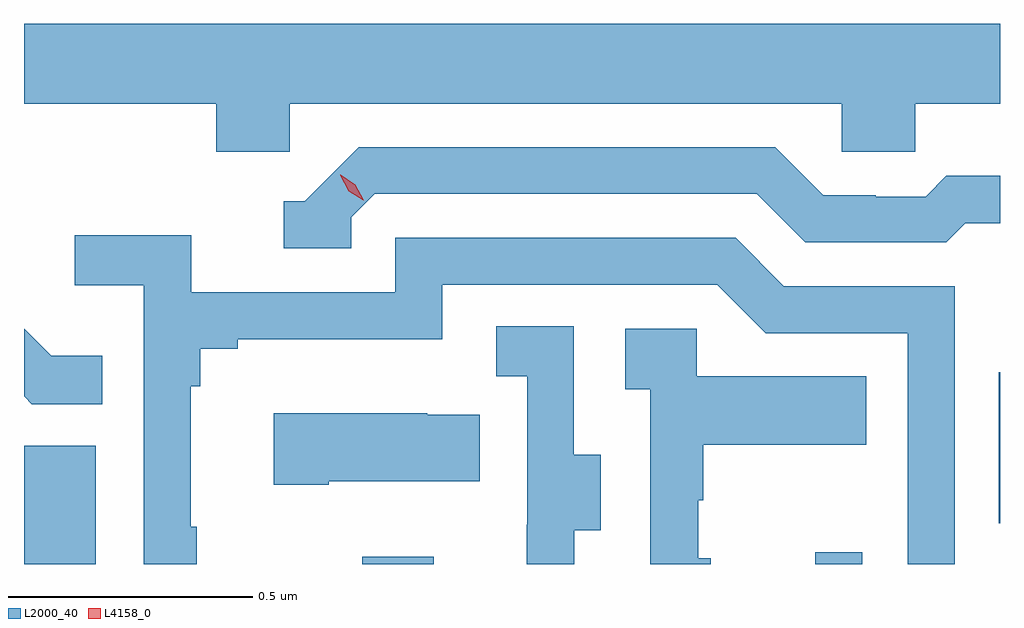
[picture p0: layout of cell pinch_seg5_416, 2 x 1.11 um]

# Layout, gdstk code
import gdstk
lib = gdstk.Library(unit=1e-6, precision=1e-09)
def R(c, l, rs):  # rectangles x0, y0, x1, y1
    for r in rs: c.add(gdstk.rectangle(r[:2], r[2:], *l))
def P(c, l, *ps):  # polygons
    for p in ps: c.add(gdstk.Polygon(p, *l))
L2000_40 = (2000, 40)
L4158_0 = (4158, 0)

pinch_seg5_416 = lib.new_cell('pinch_seg5_416')
R(pinch_seg5_416, L2000_40, [(986.089,857.148,986.236,857.391), (986.782,857.148,986.929,857.164), (987.71,857.148,987.807,857.173), (988.086,857.232,988.089,857.542)])
P(pinch_seg5_416, L2000_40, [(986.634,858.092),(987.765,858.092),(987.765,857.994),(987.915,857.994),(987.915,858.092),(988.089,858.092),(988.089,858.256),(986.089,858.256),(986.089,858.092),(986.483,858.092),(986.483,857.994),(986.634,857.994)],
  [(986.76,857.859),(986.808,857.907),(987.591,857.907),(987.69,857.808),(987.979,857.808),(988.018,857.847),(988.089,857.847),(988.089,857.944),(987.979,857.944),(987.937,857.901),(987.834,857.901),(987.834,857.904),(987.727,857.904),(987.628,858.003),(986.775,858.003),(986.664,857.892),(986.621,857.892),(986.621,857.796),(986.76,857.796)],
  [(986.443,857.225),(986.431,857.225),(986.431,857.513),(986.45,857.513),(986.45,857.59),(986.527,857.59),(986.527,857.609),(986.946,857.609),(986.946,857.721),(987.51,857.721),(987.609,857.622),(987.9,857.622),(987.9,857.148),(987.996,857.148),(987.996,857.718),(987.646,857.718),(987.547,857.817),(986.85,857.817),(986.85,857.706),(986.432,857.706),(986.432,857.822),(986.193,857.822),(986.193,857.72),(986.334,857.72),(986.334,857.148),(986.443,857.148)],
  [(987.217,857.218),(987.271,857.218),(987.271,857.373),(987.216,857.373),(987.216,857.636),(987.057,857.636),(987.057,857.533),(987.12,857.533),(987.12,857.229),(987.119,857.229),(987.119,857.148),(987.217,857.148)],
  [(986.249,857.575),(986.145,857.575),(986.089,857.631),(986.089,857.492),(986.105,857.476),(986.249,857.476)],
  [(987.496,857.16),(987.471,857.16),(987.471,857.279),(987.481,857.279),(987.481,857.393),(987.815,857.393),(987.815,857.533),(987.468,857.533),(987.468,857.631),(987.321,857.631),(987.321,857.507),(987.372,857.507),(987.372,857.148),(987.496,857.148)],
  [(986.713,857.318),(987.023,857.318),(987.023,857.455),(986.915,857.455),(986.915,857.458),(986.601,857.458),(986.601,857.311),(986.713,857.311)])
P(pinch_seg5_416, L4158_0, [(986.784,857.894),(986.754,857.913),(986.737,857.945),(986.737,857.946),(986.738,857.946),(986.768,857.926),(986.785,857.894),(986.785,857.894)])

lib.write_gds('pinch_seg5_416.gds')
